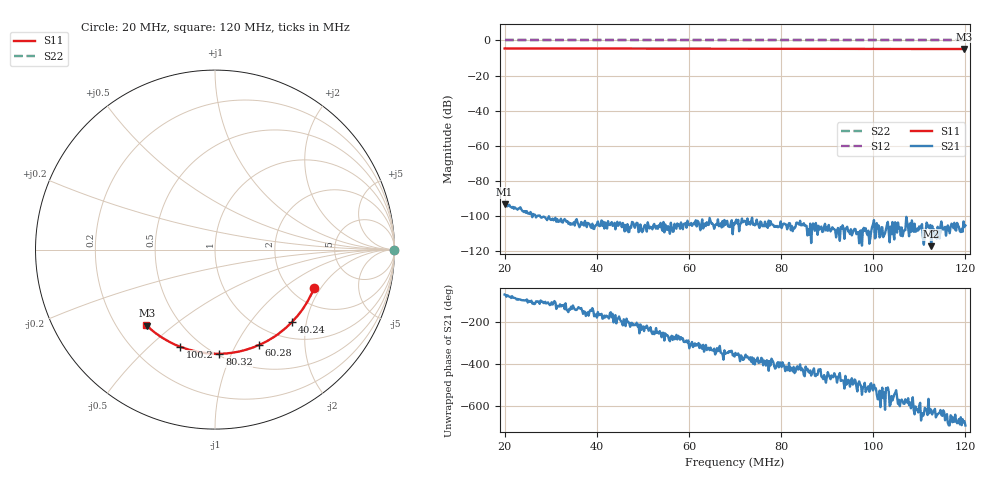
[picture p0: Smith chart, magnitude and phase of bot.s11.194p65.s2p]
! Anritsu VNA Master:  Model: MS2036C/10/77
! SN:  1601066
! /card0/usr/bot.s11.194p65.s2p
! Existing Calibration Information:
! TYPE:  Current Settings,  Active Cal Settings
! TIME:  05/23/2018 11:51:14 AM,  05/23/2018 11:36:58 AM
! INTERNAL TEMP:  48.3 C,  48.8 C
! # POINTS:  500,  500
! START FREQ:  20.000 MHz,  20.000 MHz
! STOP FREQ:  120.000 MHz,  120.000 MHz
! SOURCE POWER:  High,  High
! IFBW:  50 Hz,  50 Hz
! AVG FACTOR:  1 ,  1
! REF PLANE 1:  0 mm,  0 mm
! REF PLANE 2:  0 mm,  0 mm
! CAL TYPE:  Full S11,  Full S11
! CAL METHOD:  SOLT,  SOLT
! CAL LINE TYPE:  Coax,  Coax
! DUT PORT 1:  K-Conn(M),  K-Conn(M)
! DUT PORT 2:  K-Conn(M),  K-Conn(M)
! CAL STATUS:  OK: Accuracy High,  --
# GHZ S DB R 50.0
! FREQ.GHZ  S11DB  S11A  S21DB  S21A  S12DB  S12A  S22DB  S22A
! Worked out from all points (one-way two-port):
!   500 points, 20 MHz to 120 MHz, reference 50 ohm
!   highest |S21| = -93.38 dB at 20 MHz (marker M1); lowest = -117.3 dB at 112.6 MHz (marker M2)
!   lowest |S11| = -4.9 dB at 119.8 MHz (marker M3), VSWR 3.64, Z = 16.2 - j20.3 ohm
!   |S11| at or under -10 dB: nowhere
!   |S22| runs from 0.0 to 0.0 dB; largest |S21 - S12| = 1
!   S11 on the Smith chart (normalised r, x): 20 MHz: 2.62, -1.75; 40.24 MHz: 1.33, -1.65; 60.28 MHz: 0.77, -1.24; 80.32 MHz: 0.51, -0.90; 100.2 MHz: 0.39, -0.63; 120 MHz: 0.32, -0.40
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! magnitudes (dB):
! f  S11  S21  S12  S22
! 20 MHz  -4.5  -93.4  0.0  0.0
! 30.62 MHz  -4.6  -102.5  0.0  0.0
! 31.62 MHz  -4.6  -103.4  0.0  0.0
! 36.83 MHz  -4.6  -104.9  0.0  0.0
! 40.24 MHz  -4.6  -103.2  0.0  0.0
! 53.47 MHz  -4.6  -105.4  0.0  0.0
! 57.27 MHz  -4.6  -107.3  0.0  0.0
! 60.28 MHz  -4.7  -104.9  0.0  0.0
! 61.88 MHz  -4.7  -102.8  0.0  0.0
! 62.89 MHz  -4.7  -102.0  0.0  0.0
! 65.09 MHz  -4.7  -104.3  0.0  0.0
! 70.1 MHz  -4.7  -103.3  0.0  0.0
! 80.32 MHz  -4.7  -105.4  0.0  0.0
! 86.73 MHz  -4.7  -107.2  0.0  0.0
! 93.15 MHz  -4.8  -107.4  0.0  0.0
! 98.76 MHz  -4.8  -111.0  0.0  0.0
! 100.2 MHz  -4.8  -102.4  0.0  0.0
! 103.4 MHz  -4.8  -109.4  0.0  0.0
! 108.2 MHz  -4.8  -109.2  0.0  0.0
! 112.6 MHz  -4.9  -117.3  0.0  0.0
! 119.8 MHz  -4.9  -106.4  0.0  0.0
! 120 MHz  -4.9  -105.5  0.0  0.0
